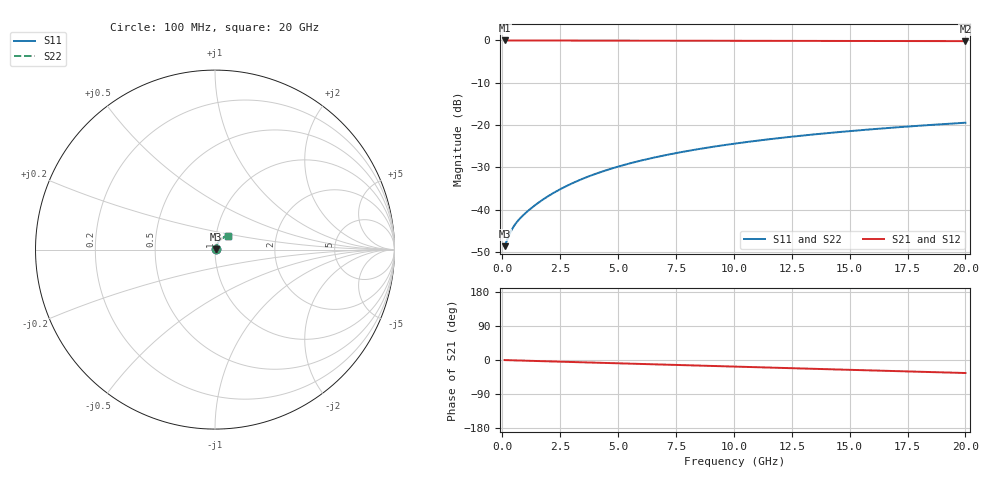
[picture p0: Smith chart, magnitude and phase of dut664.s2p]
! Touchstone file exported from HFSS 2026.1.0
!  File:  C:/ffzhzh/LocalFiles/Ansys_Project_Files/temp_train_TMRDL_664_1783009778_51716.aedt
!  Generated:  12:31:00 AM Jul  3, 2026
!  Design:  TMRDL
!  Project:  temp_train_TMRDL_664_1783009778_51716
! Variables:
!  h_bsmrdl = 2um
!  h_ox = 20um
!  h_rdl = 5um
!  h_sub = 80um
!  h_tmrdl = 2.9um
!  h_tsv = 80um
!  h_via = 3um
!  l_bsmrdl = 300um
!  l_sub = 995.5um
!  l_tmrdl = 595.5um
!  m_sub = 200um
!  pitch = 28.52um
!  r_tsv = 6um
!  s_tmrdl = 10um
!  w_bsmrdl = 18um
!  w_sub = 500um
!  w_tmrdl = 22.31um
!  x_tsv_center1 = 606.655um
!  x_tsv_center2 = 924.655um
!  x_tsv_center3 = 1542.465um
!  x_tsv_center4 = 1860.465um
!  x_tsv_center5 = 2478.275um
!  x_tsv_center6 = 2796.275um
# GHz S MA R 50.000000
! Terminal data exported
! Port[1] = TM_RDL1_1_T1
! Port[2] = TM_RDL1_1_T2
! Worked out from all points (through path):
!   200 points, 100 MHz to 20 GHz, reference 50 ohm
!   highest |S21| = -0.03 dB at 100 MHz (marker M1); lowest = -0.2 dB at 20 GHz (marker M2)
!   group delay of S21, straight-line fit = 4.76 ps
!   lowest |S11| = -48.6 dB at 100 MHz (marker M3), VSWR 1.01, Z = 50.4 + j0.109 ohm
!   |S11| at or under -10 dB: start of sweep to end of sweep
!   |S22| runs from -48.6 to -19.4 dB; largest |S21 - S12| = 3.4e-15
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0.1  0.003708 17.0  0.9965 -0.2  0.9965 -0.2  0.003708 17.0
! Gamma 0 0 0 0
! Port Impedance 50 0 50 0
0.3  0.005051 35.4  0.9959 -0.6  0.9959 -0.6  0.005051 35.4
0.4  0.00575 39.5  0.9956 -0.8  0.9956 -0.8  0.005751 39.5
0.5  0.006392 42.3  0.9953 -1.0  0.9953 -1.0  0.006393 42.3
0.7  0.007534 46.6  0.9949 -1.3  0.9949 -1.3  0.007536 46.6
0.9  0.008588 50.1  0.9947 -1.6  0.9947 -1.6  0.008592 50.1
1.1  0.009628 53.2  0.9945 -2.0  0.9945 -2.0  0.009631 53.2
1.6  0.01231 59.1  0.9942 -2.9  0.9942 -2.9  0.01231 59.1
1.9  0.01398 61.6  0.994 -3.4  0.994 -3.4  0.01399 61.5
2.2  0.0157 63.5  0.9939 -3.9  0.9939 -3.9  0.0157 63.4
2.8  0.0192 65.9  0.9935 -5.0  0.9935 -5.0  0.01921 65.9
3.5  0.02335 67.4  0.9931 -6.2  0.9931 -6.2  0.02336 67.3
4.2  0.02752 67.9  0.9927 -7.4  0.9927 -7.4  0.02753 67.9
5  0.03224 67.9  0.992 -8.8  0.992 -8.8  0.03226 67.8
5.9  0.03749 67.4  0.9913 -10.4  0.9913 -10.4  0.03751 67.3
6.8  0.04264 66.5  0.9905 -11.9  0.9905 -11.9  0.04266 66.4
8.3  0.05099 64.7  0.9891 -14.5  0.9891 -14.5  0.05102 64.6
10.1  0.0606 62.3  0.9873 -17.6  0.9873 -17.6  0.06064 62.1
11.7  0.06879 60.0  0.9858 -20.3  0.9858 -20.3  0.06884 59.7
13.4  0.07713 57.4  0.9841 -23.2  0.9841 -23.2  0.0772 57.2
16.7  0.09238 52.5  0.9811 -28.8  0.9811 -28.8  0.09248 52.1
20  0.1064 47.5  0.9782 -34.3  0.9782 -34.3  0.1065 47.1
